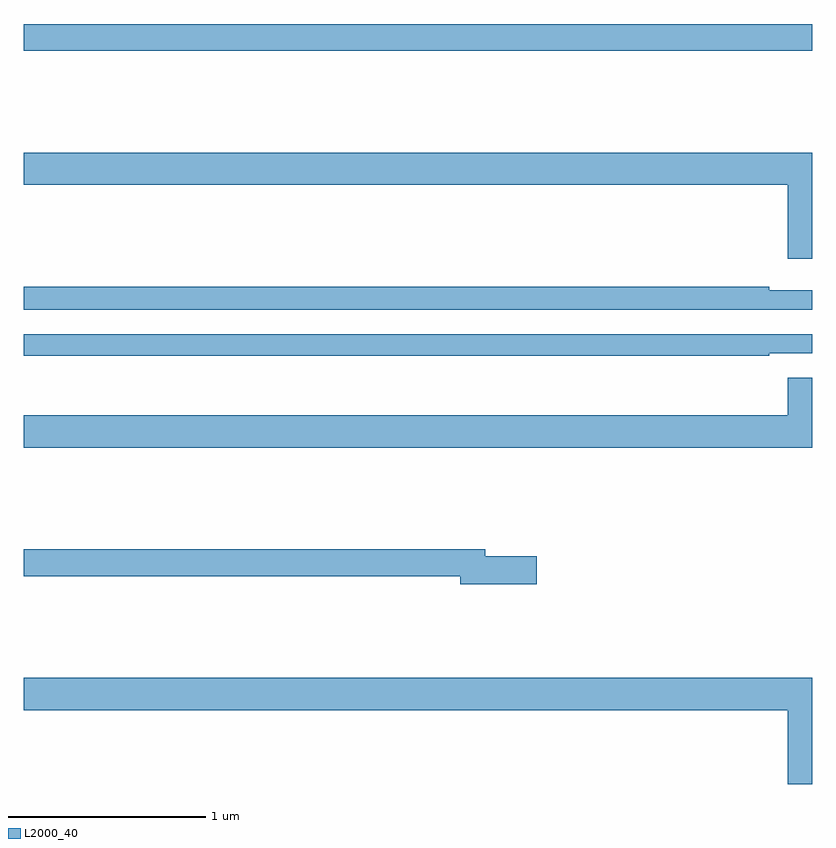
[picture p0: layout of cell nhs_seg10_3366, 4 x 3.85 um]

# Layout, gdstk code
import gdstk
lib = gdstk.Library(unit=1e-6, precision=1e-09)
def R(c, l, rs):  # rectangles x0, y0, x1, y1
    for r in rs: c.add(gdstk.rectangle(r[:2], r[2:], *l))
def P(c, l, *ps):  # polygons
    for p in ps: c.add(gdstk.Polygon(p, *l))
L2000_40 = (2000, 40)

nhs_seg10_3366 = lib.new_cell('nhs_seg10_3366')
R(nhs_seg10_3366, L2000_40, [(293,1314.316,297,1314.452)])
P(nhs_seg10_3366, L2000_40, [(297,1313.8),(293,1313.8),(293,1313.636),(296.876,1313.636),(296.876,1313.262),(297,1313.262)],
  [(297,1313.101),(296.78,1313.101),(296.78,1313.12),(293,1313.12),(293,1313.004),(297,1313.004)],
  [(296.78,1312.782),(297,1312.782),(297,1312.878),(293,1312.878),(293,1312.77),(296.78,1312.77)],
  [(297,1312.657),(296.876,1312.657),(296.876,1312.468),(293,1312.468),(293,1312.304),(297,1312.304)],
  [(295.603,1311.752),(295.342,1311.752),(295.342,1311.788),(293,1311.788),(293,1311.652),(295.214,1311.652),(295.214,1311.61),(295.603,1311.61)],
  [(297,1311.136),(293,1311.136),(293,1310.972),(296.876,1310.972),(296.876,1310.598),(297,1310.598)])

lib.write_gds('nhs_seg10_3366.gds')
